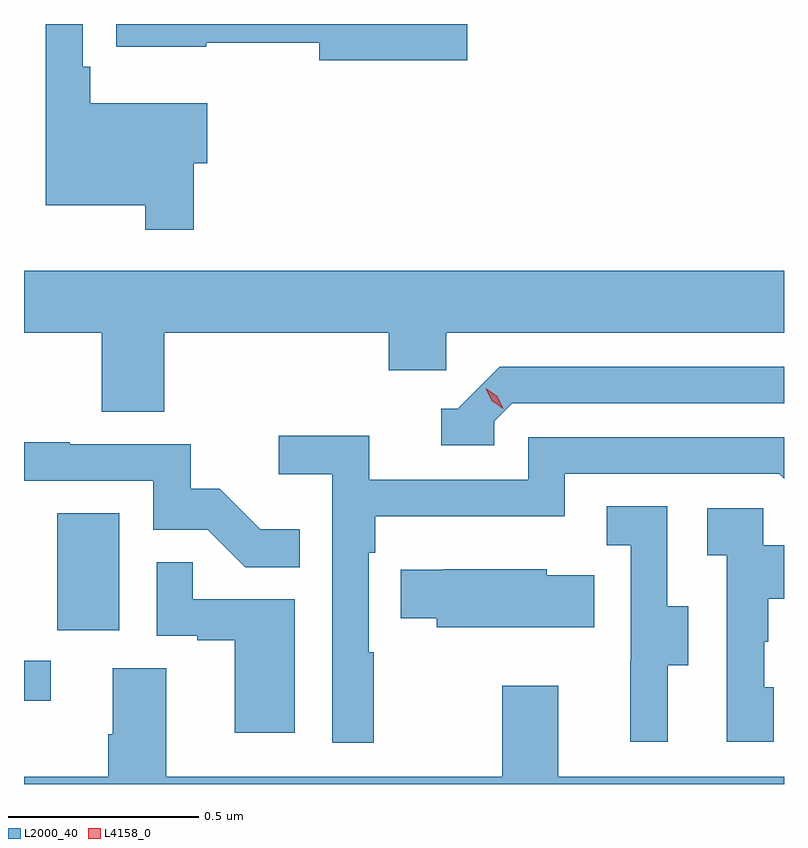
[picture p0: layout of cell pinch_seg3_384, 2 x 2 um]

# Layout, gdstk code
import gdstk
lib = gdstk.Library(unit=1e-6, precision=1e-09)
def R(c, l, rs):  # rectangles x0, y0, x1, y1
    for r in rs: c.add(gdstk.rectangle(r[:2], r[2:], *l))
def P(c, l, *ps):  # polygons
    for p in ps: c.add(gdstk.Polygon(p, *l))
L2000_40 = (2000, 40)
L4158_0 = (4158, 0)

pinch_seg3_384 = lib.new_cell('pinch_seg3_384')
R(pinch_seg3_384, L2000_40, [(998.177,694.62,998.248,694.725), (998.264,694.806,998.428,695.113)])
P(pinch_seg3_384, L2000_40, [(998.624,696.035),(998.659,696.035),(998.659,696.193),(998.351,696.193),(998.351,696.289),(998.331,696.289),(998.331,696.401),(998.234,696.401),(998.234,695.924),(998.496,695.924),(998.496,695.859),(998.624,695.859)],
  [(999.343,696.401),(998.42,696.401),(998.42,696.341),(998.656,696.341),(998.656,696.352),(998.954,696.352),(998.954,696.305),(999.343,696.305)],
  [(998.546,695.588),(999.137,695.588),(999.137,695.49),(999.288,695.49),(999.288,695.588),(1000.177,695.588),(1000.177,695.752),(998.177,695.752),(998.177,695.588),(998.381,695.588),(998.381,695.38),(998.546,695.38)],
  [(999.414,695.355),(999.462,695.403),(1000.177,695.403),(1000.177,695.499),(999.429,695.499),(999.318,695.388),(999.275,695.388),(999.275,695.292),(999.414,695.292)],
  [(999.097,694.748),(999.084,694.748),(999.084,695.009),(999.101,695.009),(999.101,695.105),(999.6,695.105),(999.6,695.217),(1000.164,695.217),(1000.177,695.204),(1000.177,695.313),(999.504,695.313),(999.504,695.202),(999.086,695.202),(999.086,695.318),(998.847,695.318),(998.847,695.216),(998.988,695.216),(998.988,694.509),(999.097,694.509)],
  [(998.903,695.071),(998.799,695.071),(998.692,695.178),(998.616,695.178),(998.616,695.295),(998.297,695.295),(998.297,695.3),(998.177,695.3),(998.177,695.199),(998.517,695.199),(998.517,695.07),(998.661,695.07),(998.759,694.972),(998.903,694.972)],
  [(999.871,694.714),(999.925,694.714),(999.925,694.869),(999.87,694.869),(999.87,695.132),(999.711,695.132),(999.711,695.029),(999.774,695.029),(999.774,694.725),(999.773,694.725),(999.773,694.512),(999.871,694.512)],
  [(1000.15,694.656),(1000.125,694.656),(1000.125,694.775),(1000.135,694.775),(1000.135,694.889),(1000.177,694.889),(1000.177,695.029),(1000.122,695.029),(1000.122,695.127),(999.975,695.127),(999.975,695.003),(1000.026,695.003),(1000.026,694.512),(1000.15,694.512)],
  [(998.89,694.887),(998.621,694.887),(998.621,694.985),(998.526,694.985),(998.526,694.791),(998.633,694.791),(998.633,694.779),(998.732,694.779),(998.732,694.536),(998.89,694.536)],
  [(999.677,694.951),(999.552,694.951),(999.552,694.966),(999.28,694.966),(999.28,694.965),(999.169,694.965),(999.169,694.837),(999.263,694.837),(999.263,694.814),(999.677,694.814)],
  [(1000.177,694.42),(999.583,694.42),(999.583,694.66),(999.436,694.66),(999.436,694.42),(998.551,694.42),(998.551,694.706),(998.411,694.706),(998.411,694.532),(998.399,694.532),(998.399,694.42),(998.177,694.42),(998.177,694.401),(1000.177,694.401)])
P(pinch_seg3_384, L4158_0, [(999.438,695.389),(999.408,695.409),(999.392,695.442),(999.392,695.442),(999.392,695.442),(999.423,695.422),(999.438,695.39),(999.438,695.389)])

lib.write_gds('pinch_seg3_384.gds')
